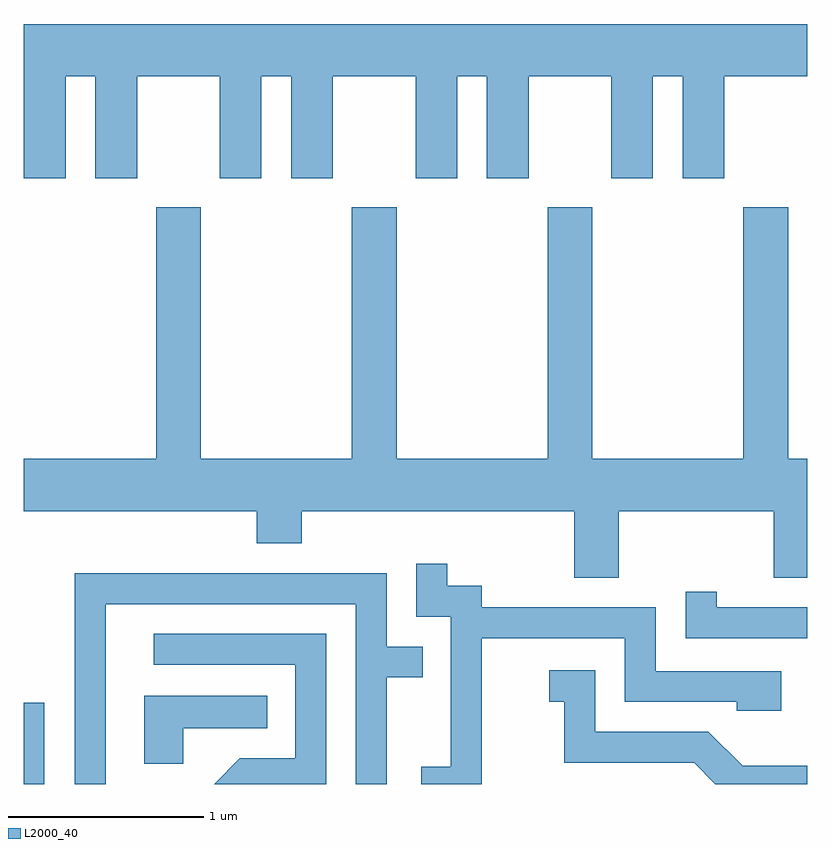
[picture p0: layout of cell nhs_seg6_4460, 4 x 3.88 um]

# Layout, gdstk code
import gdstk
lib = gdstk.Library(unit=1e-6, precision=1e-09)
def R(c, l, rs):  # rectangles x0, y0, x1, y1
    for r in rs: c.add(gdstk.rectangle(r[:2], r[2:], *l))
def P(c, l, *ps):  # polygons
    for p in ps: c.add(gdstk.Polygon(p, *l))
L2000_40 = (2000, 40)

nhs_seg6_4460 = lib.new_cell('nhs_seg6_4460')
R(nhs_seg6_4460, L2000_40, [(321.611,1584.162,321.714,1584.578)])
P(nhs_seg6_4460, L2000_40, [(321.824,1587.776),(321.976,1587.776),(321.976,1587.256),(322.189,1587.256),(322.189,1587.776),(322.611,1587.776),(322.611,1587.256),(322.824,1587.256),(322.824,1587.776),(322.976,1587.776),(322.976,1587.256),(323.189,1587.256),(323.189,1587.776),(323.611,1587.776),(323.611,1587.256),(323.824,1587.256),(323.824,1587.776),(323.976,1587.776),(323.976,1587.256),(324.189,1587.256),(324.189,1587.776),(324.611,1587.776),(324.611,1587.256),(324.824,1587.256),(324.824,1587.776),(324.976,1587.776),(324.976,1587.256),(325.189,1587.256),(325.189,1587.776),(325.611,1587.776),(325.611,1588.044),(321.611,1588.044),(321.611,1587.256),(321.824,1587.256)],
  [(324.649,1585.556),(325.441,1585.556),(325.441,1585.216),(325.611,1585.216),(325.611,1585.824),(325.514,1585.824),(325.514,1587.109),(325.286,1587.109),(325.286,1585.824),(324.514,1585.824),(324.514,1587.109),(324.286,1587.109),(324.286,1585.824),(323.514,1585.824),(323.514,1587.109),(323.286,1587.109),(323.286,1585.824),(322.514,1585.824),(322.514,1587.109),(322.286,1587.109),(322.286,1585.824),(321.611,1585.824),(321.611,1585.556),(322.801,1585.556),(322.801,1585.391),(323.029,1585.391),(323.029,1585.556),(324.421,1585.556),(324.421,1585.216),(324.649,1585.216)],
  [(323.949,1584.906),(324.681,1584.906),(324.681,1584.581),(325.251,1584.581),(325.251,1584.536),(325.479,1584.536),(325.479,1584.739),(324.839,1584.739),(324.839,1585.064),(323.949,1585.064),(323.949,1585.174),(323.774,1585.174),(323.774,1585.288),(323.616,1585.288),(323.616,1585.016),(323.791,1585.016),(323.791,1584.249),(323.641,1584.249),(323.641,1584.162),(323.949,1584.162)],
  [(322.029,1585.081),(323.306,1585.081),(323.306,1584.162),(323.464,1584.162),(323.464,1584.706),(323.648,1584.706),(323.648,1584.864),(323.464,1584.864),(323.464,1585.239),(321.871,1585.239),(321.871,1584.162),(322.029,1584.162)],
  [(325.611,1585.064),(325.149,1585.064),(325.149,1585.143),(324.991,1585.143),(324.991,1584.906),(325.611,1584.906)],
  [(323.154,1584.929),(322.273,1584.929),(322.273,1584.771),(322.996,1584.771),(322.996,1584.294),(322.714,1584.294),(322.582,1584.162),(323.154,1584.162)],
  [(325.611,1584.254),(325.282,1584.254),(325.107,1584.429),(324.529,1584.429),(324.529,1584.744),(324.293,1584.744),(324.293,1584.581),(324.371,1584.581),(324.371,1584.271),(325.034,1584.271),(325.143,1584.162),(325.611,1584.162)],
  [(322.424,1584.446),(322.853,1584.446),(322.853,1584.614),(322.226,1584.614),(322.226,1584.266),(322.424,1584.266)])

lib.write_gds('nhs_seg6_4460.gds')
